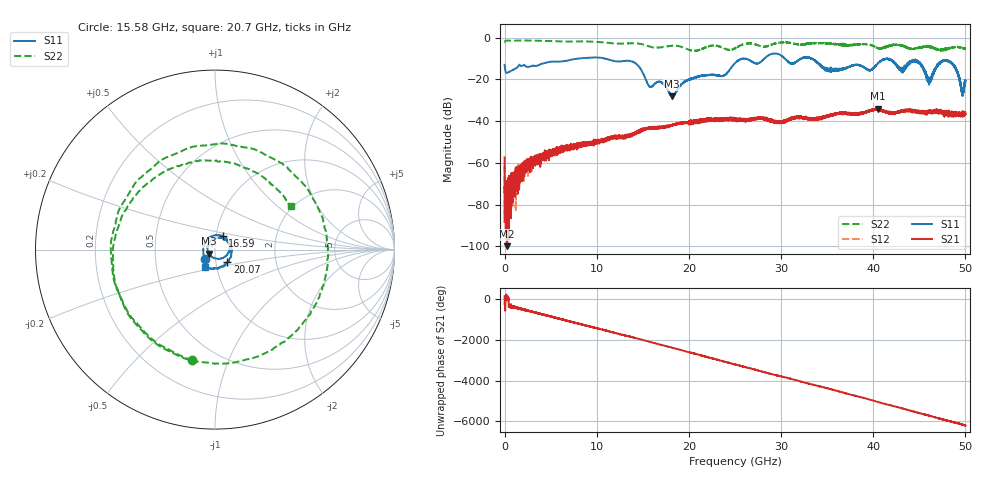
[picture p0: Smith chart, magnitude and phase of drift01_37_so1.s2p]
!Created with skrf (http://scikit-rf.org).
# Hz S RI R 50.0
!freq ReS11 ImS11 ReS21 ImS21 ReS12 ImS12 ReS22 ImS22
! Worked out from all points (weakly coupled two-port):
!   10001 points, 300 kHz to 50 GHz, reference 50 ohm
!   highest |S21| = -34.03 dB at 40.54 GHz (marker M1); lowest = -99.9 dB at 290.3 MHz (marker M2)
!   lowest |S11| = -28.1 dB at 18.15 GHz (marker M3), VSWR 1.08, Z = 46.8 - j2.1 ohm
!   |S11| at or under -10 dB: start of sweep to 8.065 GHz; 10.89 GHz to 28.2 GHz (17.31 GHz wide, 88.5 % of centre); 33.32 GHz to end of sweep (the widest 3 of 13)
!   |S22| runs from -6.4 to -1.4 dB; largest |S21 - S12| = 0.0037
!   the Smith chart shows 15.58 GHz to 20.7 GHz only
!   S11 on the Smith chart (normalised r, x): 15.58 GHz: 0.89, -0.09; 16.59 GHz: 1.08, +0.16; 20.07 GHz: 1.14, -0.16; 20.7 GHz: 0.88, -0.18
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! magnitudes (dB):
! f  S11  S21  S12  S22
! 300 kHz  -13.0  -57.4  -61.3  -2.1
! 290.3 MHz  -16.9  -99.9  -81.9  -1.4
! 2.405 GHz  -14.0  -59.0  -63.2  -1.4
! 8.335 GHz  -9.9  -51.8  -51.9  -1.8
! 13.87 GHz  -11.5  -46.0  -46.4  -2.7
! 15.58 GHz  -22.6  -43.5  -43.6  -4.0
! 16.59 GHz  -21.3  -43.2  -43.3  -4.8
! 16.67 GHz  -21.1  -43.1  -43.2  -4.8
! 18.15 GHz  -28.1  -42.0  -42.0  -3.9
! 20.07 GHz  -20.1  -40.3  -40.5  -5.9
! 20.7 GHz  -19.0  -40.0  -39.7  -6.2
! 25 GHz  -12.2  -39.3  -39.5  -5.1
! 33.34 GHz  -10.1  -38.6  -39.1  -2.7
! 35.23 GHz  -15.2  -37.6  -37.6  -2.9
! 40.54 GHz  -12.2  -34.0  -34.6  -5.1
! 41.67 GHz  -10.3  -35.8  -35.9  -4.3
! 43.07 GHz  -16.0  -35.0  -35.4  -3.7
! 44.76 GHz  -11.3  -35.1  -35.6  -5.0
! 46.08 GHz  -21.4  -35.9  -35.3  -4.4
! 48.07 GHz  -11.1  -36.3  -36.5  -4.9
! 49.63 GHz  -25.5  -37.0  -36.0  -4.8
! 50 GHz  -21.5  -36.9  -36.7  -5.4
